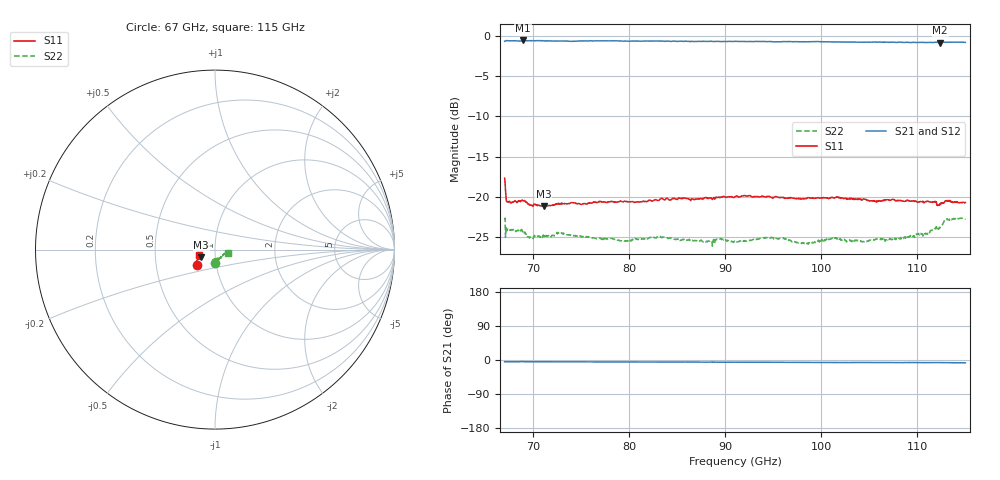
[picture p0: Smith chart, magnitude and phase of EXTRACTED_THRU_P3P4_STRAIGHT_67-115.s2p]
! Generated by Phase I extraction
# Hz S RI R 50
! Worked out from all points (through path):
!   1001 points, 67 GHz to 115 GHz, reference 50 ohm
!   highest |S21| = -0.57 dB at 68.92 GHz (marker M1); lowest = -0.8 dB at 112.4 GHz (marker M2)
!   lowest |S11| = -21.2 dB at 71.08 GHz (marker M3), VSWR 1.19, Z = 42.7 - j3.61 ohm
!   |S11| at or under -10 dB: start of sweep to end of sweep
!   |S22| runs from -26.1 to -22.6 dB; largest |S21 - S12| = 0.016
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6.7e10  -0.099 -0.0858  0.9222 -0.0781  0.9286 -0.0778  0.00124 -0.0723
6.7336e10  -0.0792 -0.0489  0.9309 -0.0733  0.931 -0.0777  -0.0105 -0.0624
6.7432e10  -0.0796 -0.0495  0.9292 -0.0721  0.9281 -0.0776  -0.00807 -0.0618
6.892e10  -0.0824 -0.0462  0.9339 -0.0662  0.9312 -0.071  -0.00407 -0.0613
6.9736e10  -0.0777 -0.0432  0.9291 -0.0745  0.9272 -0.0757  -0.00824 -0.0554
7.108e10  -0.0769 -0.0419  0.9277 -0.076  0.9267 -0.08  -0.00641 -0.0568
7.2712e10  -0.0807 -0.0404  0.9255 -0.0792  0.9238 -0.0843  -0.00649 -0.0592
7.5016e10  -0.0802 -0.041  0.9261 -0.0779  0.9231 -0.083  -0.000958 -0.057
7.9624e10  -0.0837 -0.0423  0.9238 -0.084  0.9202 -0.0892  0.000913 -0.0535
8.3032e10  -0.085 -0.043  0.9225 -0.0871  0.9183 -0.0942  0.00915 -0.0566
8.788e10  -0.0889 -0.0435  0.9204 -0.0915  0.9158 -0.0964  0.015 -0.0506
8.9512e10  -0.0908 -0.041  0.9172 -0.0953  0.9141 -0.1005  0.0161 -0.0528
9.1e10  -0.0912 -0.0417  0.9193 -0.0937  0.9152 -0.1016  0.0177 -0.0499
9.4984e10  -0.0912 -0.0379  0.9119 -0.0975  0.9088 -0.1054  0.0261 -0.0495
9.9016e10  -0.0901 -0.0399  0.9144 -0.1027  0.9112 -0.1064  0.0304 -0.0424
1.0132e11  -0.0908 -0.0383  0.9115 -0.1056  0.9092 -0.1141  0.034 -0.0436
1.04488e11  -0.09 -0.0361  0.9065 -0.1043  0.9027 -0.1141  0.0392 -0.0353
1.07032e11  -0.0885 -0.0363  0.9052 -0.1075  0.9027 -0.1139  0.046 -0.0291
1.10824e11  -0.0887 -0.0288  0.9022 -0.1095  0.8997 -0.1173  0.0549 -0.0215
1.1236e11  -0.0872 -0.0263  0.9017 -0.1085  0.9001 -0.1217  0.0614 -0.02
1.1308e11  -0.0889 -0.0313  0.9042 -0.1123  0.9032 -0.1236  0.0688 -0.0225
1.15e11  -0.0874 -0.0298  0.9028 -0.1169  0.9008 -0.1253  0.0702 -0.0205
